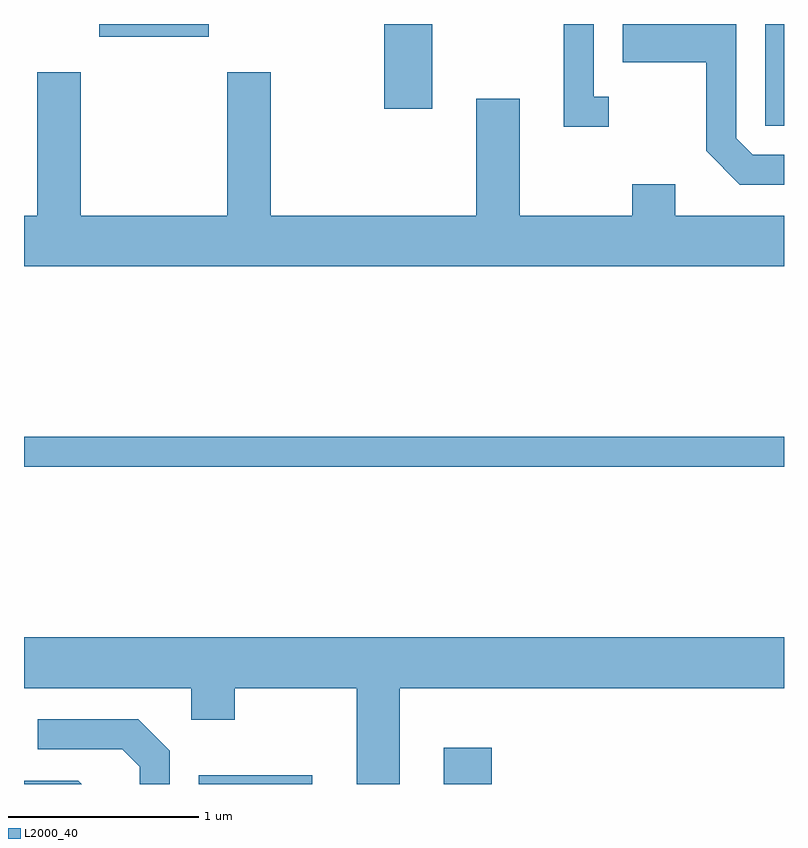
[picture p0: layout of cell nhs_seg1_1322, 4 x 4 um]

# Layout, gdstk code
import gdstk
lib = gdstk.Library(unit=1e-6, precision=1e-09)
def R(c, l, rs):  # rectangles x0, y0, x1, y1
    for r in rs: c.add(gdstk.rectangle(r[:2], r[2:], *l))
def P(c, l, *ps):  # polygons
    for p in ps: c.add(gdstk.Polygon(p, *l))
L2000_40 = (2000, 40)

nhs_seg1_1322 = lib.new_cell('nhs_seg1_1322')
R(nhs_seg1_1322, L2000_40, [(226.531,925.712,227.129,925.759), (227.821,925.712,228.074,925.904), (225.611,927.381,229.611,927.539), (229.511,929.176,229.611,929.712), (227.506,929.266,227.759,929.712), (226.006,929.646,226.584,929.712)])
P(nhs_seg1_1322, L2000_40, [(228.688,929.329),(228.609,929.329),(228.609,929.712),(228.451,929.712),(228.451,929.171),(228.688,929.171)],
  [(229.611,929.024),(229.447,929.024),(229.359,929.112),(229.359,929.712),(228.761,929.712),(228.761,929.511),(229.201,929.511),(229.201,929.044),(229.379,928.866),(229.611,928.866)],
  [(229.611,928.704),(229.039,928.704),(229.039,928.869),(228.811,928.869),(228.811,928.704),(228.219,928.704),(228.219,929.319),(227.991,929.319),(227.991,928.704),(226.909,928.704),(226.909,929.459),(226.681,929.459),(226.681,928.704),(225.909,928.704),(225.909,929.459),(225.681,929.459),(225.681,928.704),(225.611,928.704),(225.611,928.436),(229.611,928.436)],
  [(227.589,926.216),(229.611,926.216),(229.611,926.484),(225.611,926.484),(225.611,926.216),(226.491,926.216),(226.491,926.051),(226.719,926.051),(226.719,926.216),(227.361,926.216),(227.361,925.712),(227.589,925.712)],
  [(226.379,925.887),(226.212,926.054),(225.683,926.054),(225.683,925.896),(226.129,925.896),(226.221,925.804),(226.221,925.712),(226.379,925.712)],
  [(225.897,925.729),(225.611,925.729),(225.611,925.712),(225.914,925.712)])

lib.write_gds('nhs_seg1_1322.gds')
